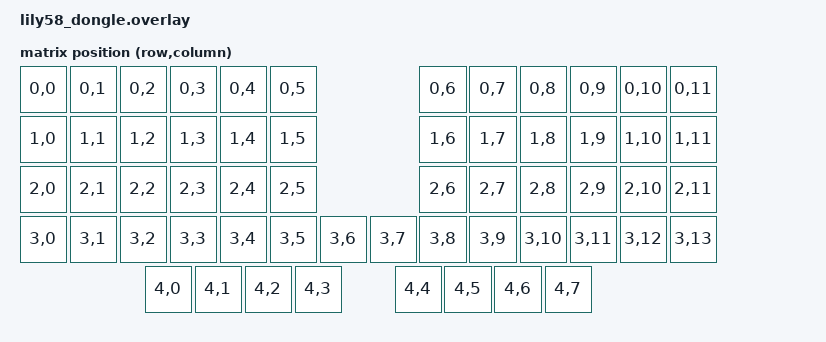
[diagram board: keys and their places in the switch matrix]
/*
 * Lily58 dongle: a bare nice!nano with no key matrix.
 * It acts as the split central; both keyboard halves connect to it as peripherals.
 */

#include <dt-bindings/zmk/matrix_transform.h>
#include <physical_layouts.dtsi>

/ {
    chosen {
        zmk,kscan = &mock_kscan;
        zmk,physical-layout = &lily58_dongle_layout;
    };

    /* No real switches on the dongle, so use a mock scanner instead of scanning floating pins. */
    mock_kscan: kscan_mock {
        compatible = "zmk,kscan-mock";
        columns = <0>;
        rows = <0>;
        events = <0>;
    };

    default_transform: keymap_transform_0 {
        compatible = "zmk,matrix-transform";
        columns = <14>;
        rows = <5>;

        /* 58 keys, same position order as the Lily58 keymap */
        map = <
            RC(0,0) RC(0,1) RC(0,2) RC(0,3) RC(0,4) RC(0,5) RC(0,6) RC(0,7) RC(0,8) RC(0,9) RC(0,10) RC(0,11)
            RC(1,0) RC(1,1) RC(1,2) RC(1,3) RC(1,4) RC(1,5) RC(1,6) RC(1,7) RC(1,8) RC(1,9) RC(1,10) RC(1,11)
            RC(2,0) RC(2,1) RC(2,2) RC(2,3) RC(2,4) RC(2,5) RC(2,6) RC(2,7) RC(2,8) RC(2,9) RC(2,10) RC(2,11)
            RC(3,0) RC(3,1) RC(3,2) RC(3,3) RC(3,4) RC(3,5) RC(3,6) RC(3,7) RC(3,8) RC(3,9) RC(3,10) RC(3,11)
            RC(3,12) RC(3,13) RC(4,0) RC(4,1) RC(4,2) RC(4,3) RC(4,4) RC(4,5) RC(4,6) RC(4,7)
        >;
    };

    /* Used by ZMK Studio to draw the board. Position order must match the keymap. */
    lily58_dongle_layout: lily58_dongle_layout {
        compatible = "zmk,physical-layout";
        display-name = "Lily58";
        transform = <&default_transform>;

        keys = <
            &key_physical_attrs 100 100 0 0 0 0 0
            &key_physical_attrs 100 100 100 0 0 0 0
            &key_physical_attrs 100 100 200 0 0 0 0
            &key_physical_attrs 100 100 300 0 0 0 0
            &key_physical_attrs 100 100 400 0 0 0 0
            &key_physical_attrs 100 100 500 0 0 0 0
            &key_physical_attrs 100 100 800 0 0 0 0
            &key_physical_attrs 100 100 900 0 0 0 0
            &key_physical_attrs 100 100 1000 0 0 0 0
            &key_physical_attrs 100 100 1100 0 0 0 0
            &key_physical_attrs 100 100 1200 0 0 0 0
            &key_physical_attrs 100 100 1300 0 0 0 0
            &key_physical_attrs 100 100 0 100 0 0 0
            &key_physical_attrs 100 100 100 100 0 0 0
            &key_physical_attrs 100 100 200 100 0 0 0
            &key_physical_attrs 100 100 300 100 0 0 0
            &key_physical_attrs 100 100 400 100 0 0 0
            &key_physical_attrs 100 100 500 100 0 0 0
            &key_physical_attrs 100 100 800 100 0 0 0
            &key_physical_attrs 100 100 900 100 0 0 0
            &key_physical_attrs 100 100 1000 100 0 0 0
            &key_physical_attrs 100 100 1100 100 0 0 0
            &key_physical_attrs 100 100 1200 100 0 0 0
            &key_physical_attrs 100 100 1300 100 0 0 0
            &key_physical_attrs 100 100 0 200 0 0 0
            &key_physical_attrs 100 100 100 200 0 0 0
            &key_physical_attrs 100 100 200 200 0 0 0
            &key_physical_attrs 100 100 300 200 0 0 0
            &key_physical_attrs 100 100 400 200 0 0 0
            &key_physical_attrs 100 100 500 200 0 0 0
            &key_physical_attrs 100 100 800 200 0 0 0
            &key_physical_attrs 100 100 900 200 0 0 0
            &key_physical_attrs 100 100 1000 200 0 0 0
            &key_physical_attrs 100 100 1100 200 0 0 0
            &key_physical_attrs 100 100 1200 200 0 0 0
            &key_physical_attrs 100 100 1300 200 0 0 0
            &key_physical_attrs 100 100 0 300 0 0 0
            &key_physical_attrs 100 100 100 300 0 0 0
            &key_physical_attrs 100 100 200 300 0 0 0
            &key_physical_attrs 100 100 300 300 0 0 0
            &key_physical_attrs 100 100 400 300 0 0 0
            &key_physical_attrs 100 100 500 300 0 0 0
            &key_physical_attrs 100 100 600 300 0 0 0
            &key_physical_attrs 100 100 700 300 0 0 0
            &key_physical_attrs 100 100 800 300 0 0 0
            &key_physical_attrs 100 100 900 300 0 0 0
            &key_physical_attrs 100 100 1000 300 0 0 0
            &key_physical_attrs 100 100 1100 300 0 0 0
            &key_physical_attrs 100 100 1200 300 0 0 0
            &key_physical_attrs 100 100 1300 300 0 0 0
            &key_physical_attrs 100 100 250 400 0 0 0
            &key_physical_attrs 100 100 350 400 0 0 0
            &key_physical_attrs 100 100 450 400 0 0 0
            &key_physical_attrs 100 100 550 400 0 0 0
            &key_physical_attrs 100 100 750 400 0 0 0
            &key_physical_attrs 100 100 850 400 0 0 0
            &key_physical_attrs 100 100 950 400 0 0 0
            &key_physical_attrs 100 100 1050 400 0 0 0
        >;
    };
};
